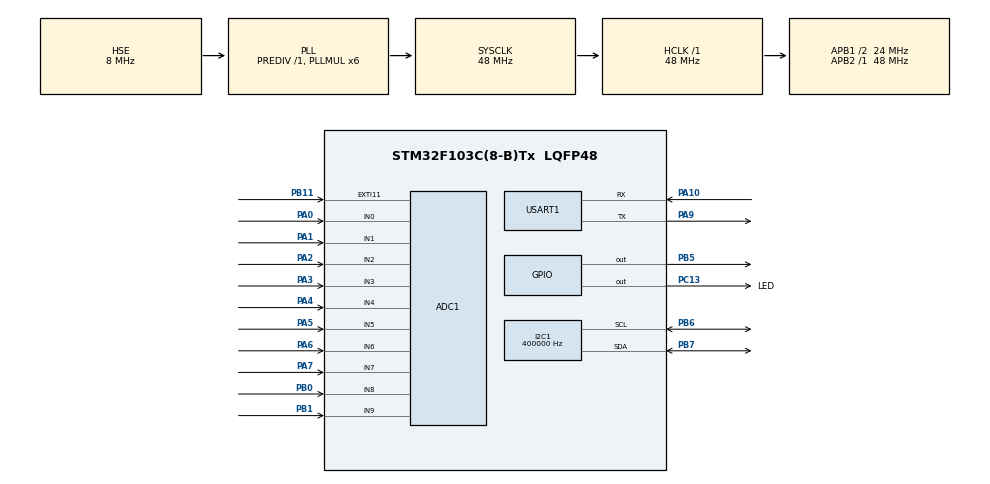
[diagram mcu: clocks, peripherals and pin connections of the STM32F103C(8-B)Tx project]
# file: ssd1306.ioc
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ADC1.Channel-0\#ChannelRegularConversion=ADC_CHANNEL_0
ADC1.Channel-10\#ChannelRegularConversion=ADC_CHANNEL_8
ADC1.Channel-11\#ChannelRegularConversion=ADC_CHANNEL_9
ADC1.Channel-12\#ChannelRegularConversion=ADC_CHANNEL_TEMPSENSOR
ADC1.Channel-13\#ChannelRegularConversion=ADC_CHANNEL_VREFINT
ADC1.Channel-3\#ChannelRegularConversion=ADC_CHANNEL_1
ADC1.Channel-4\#ChannelRegularConversion=ADC_CHANNEL_2
ADC1.Channel-5\#ChannelRegularConversion=ADC_CHANNEL_3
ADC1.Channel-6\#ChannelRegularConversion=ADC_CHANNEL_4
ADC1.Channel-7\#ChannelRegularConversion=ADC_CHANNEL_5
ADC1.Channel-8\#ChannelRegularConversion=ADC_CHANNEL_6
ADC1.Channel-9\#ChannelRegularConversion=ADC_CHANNEL_7
ADC1.ContinuousConvMode=ENABLE
ADC1.DataAlign=ADC_DATAALIGN_RIGHT
ADC1.DiscontinuousConvMode=DISABLE
ADC1.EnableAnalogWatchDog=false
ADC1.EnableRegularConversion=ENABLE
ADC1.ExternalTrigConv=ADC_EXTERNALTRIGCONV_EXT_IT11
ADC1.InjNumberOfConversion=0
ADC1.NbrOfConversion=12
ADC1.NbrOfConversionFlag=1
ADC1.Rank-0\#ChannelRegularConversion=1
ADC1.Rank-10\#ChannelRegularConversion=9
ADC1.Rank-11\#ChannelRegularConversion=10
ADC1.Rank-12\#ChannelRegularConversion=11
ADC1.Rank-13\#ChannelRegularConversion=12
ADC1.Rank-3\#ChannelRegularConversion=2
ADC1.Rank-4\#ChannelRegularConversion=3
ADC1.Rank-5\#ChannelRegularConversion=4
ADC1.Rank-6\#ChannelRegularConversion=5
ADC1.Rank-7\#ChannelRegularConversion=6
ADC1.Rank-8\#ChannelRegularConversion=7
ADC1.Rank-9\#ChannelRegularConversion=8
ADC1.SamplingTime-0\#ChannelRegularConversion=ADC_SAMPLETIME_1CYCLE_5
ADC1.SamplingTime-10\#ChannelRegularConversion=ADC_SAMPLETIME_1CYCLE_5
ADC1.SamplingTime-11\#ChannelRegularConversion=ADC_SAMPLETIME_1CYCLE_5
ADC1.SamplingTime-12\#ChannelRegularConversion=ADC_SAMPLETIME_1CYCLE_5
ADC1.SamplingTime-13\#ChannelRegularConversion=ADC_SAMPLETIME_1CYCLE_5
ADC1.SamplingTime-3\#ChannelRegularConversion=ADC_SAMPLETIME_1CYCLE_5
ADC1.SamplingTime-4\#ChannelRegularConversion=ADC_SAMPLETIME_1CYCLE_5
ADC1.SamplingTime-5\#ChannelRegularConversion=ADC_SAMPLETIME_1CYCLE_5
ADC1.SamplingTime-6\#ChannelRegularConversion=ADC_SAMPLETIME_1CYCLE_5
ADC1.SamplingTime-7\#ChannelRegularConversion=ADC_SAMPLETIME_1CYCLE_5
ADC1.SamplingTime-8\#ChannelRegularConversion=ADC_SAMPLETIME_1CYCLE_5
ADC1.SamplingTime-9\#ChannelRegularConversion=ADC_SAMPLETIME_1CYCLE_5
ADC1.ScanConvMode=ADC_SCAN_ENABLE
ADC1.master=1
Dma.ADC1.0.Direction=DMA_PERIPH_TO_MEMORY
Dma.ADC1.0.Instance=DMA1_Channel1
Dma.ADC1.0.MemDataAlignment=DMA_MDATAALIGN_HALFWORD
Dma.ADC1.0.MemInc=DMA_MINC_ENABLE
Dma.ADC1.0.Mode=DMA_CIRCULAR
Dma.ADC1.0.PeriphDataAlignment=DMA_PDATAALIGN_HALFWORD
Dma.ADC1.0.PeriphInc=DMA_PINC_DISABLE
Dma.ADC1.0.Priority=DMA_PRIORITY_MEDIUM
Dma.Request0=ADC1
I2C1.ClockSpeed=400000
I2C1.I2C_Mode=I2C_Fast
Mcu.Family=STM32F1
Mcu.Name=STM32F103C(8-B)Tx
Mcu.Package=LQFP48
NVIC.ADC1_2_IRQn=true\:0\:0\:false\:false\:true\:true
NVIC.DMA1_Channel1_IRQn=true\:0\:0\:false\:false\:true\:true
NVIC.PriorityGroup=NVIC_PRIORITYGROUP_4
PA0-WKUP.Signal=ADCx_IN0
PA1.Signal=ADCx_IN1
PA10.Mode=Asynchronous
PA10.Signal=USART1_RX
PA13.Mode=Serial_Wire
PA13.Signal=SYS_JTMS-SWDIO
PA14.Mode=Serial_Wire
PA14.Signal=SYS_JTCK-SWCLK
PA2.Signal=ADCx_IN2
PA3.Signal=ADCx_IN3
PA4.Signal=ADCx_IN4
PA5.Signal=ADCx_IN5
PA6.Signal=ADCx_IN6
PA7.Signal=ADCx_IN7
PA9.Mode=Asynchronous
PA9.Signal=USART1_TX
PB0.Signal=ADCx_IN8
PB1.Signal=ADCx_IN9
PB11.Signal=GPXTI11
PB5.GPIO_Speed=GPIO_SPEED_FREQ_MEDIUM
PB5.Signal=GPIO_Output
PB6.Mode=I2C
PB6.Signal=I2C1_SCL
PB7.Mode=I2C
PB7.Signal=I2C1_SDA
PC13-TAMPER-RTC.GPIO_Label=LED
PC13-TAMPER-RTC.GPIO_Speed=GPIO_SPEED_FREQ_MEDIUM
PC13-TAMPER-RTC.PinState=GPIO_PIN_SET
PC13-TAMPER-RTC.Signal=GPIO_Output
PD0-OSC_IN.Mode=HSE-External-Oscillator
PD0-OSC_IN.Signal=RCC_OSC_IN
PD1-OSC_OUT.Mode=HSE-External-Oscillator
PD1-OSC_OUT.Signal=RCC_OSC_OUT
ProjectManager.HeapSize=0x400
ProjectManager.StackSize=0x200
ProjectManager.TargetToolchain=MDK-ARM V5
RCC.ADCPresc=RCC_ADCPCLK2_DIV6
RCC.AHBFreq_Value=48000000
RCC.APB1CLKDivider=RCC_HCLK_DIV2
RCC.APB1Freq_Value=24000000
RCC.APB1TimFreq_Value=48000000
RCC.APB2Freq_Value=48000000
RCC.APB2TimFreq_Value=48000000
RCC.HCLKFreq_Value=48000000
RCC.PLLMUL=RCC_PLL_MUL6
RCC.PLLSourceVirtual=RCC_PLLSOURCE_HSE
RCC.SYSCLKFreq_VALUE=48000000
RCC.SYSCLKSource=RCC_SYSCLKSOURCE_PLLCLK
RCC.USBFreq_Value=48000000
SH.ADCx_IN0.0=ADC1_IN0,IN0
SH.ADCx_IN1.0=ADC1_IN1,IN1
SH.ADCx_IN2.0=ADC1_IN2,IN2
SH.ADCx_IN3.0=ADC1_IN3,IN3
SH.ADCx_IN4.0=ADC1_IN4,IN4
SH.ADCx_IN5.0=ADC1_IN5,IN5
SH.ADCx_IN6.0=ADC1_IN6,IN6
SH.ADCx_IN7.0=ADC1_IN7,IN7
SH.ADCx_IN8.0=ADC1_IN8,IN8
SH.ADCx_IN9.0=ADC1_IN9,IN9
USART1.VirtualMode=VM_ASYNC
VP_ADC1_TempSens_Input.Mode=IN-TempSens
VP_ADC1_Vref_Input.Mode=IN-Vrefint
board=ssd1306

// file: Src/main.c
/**
  ******************************************************************************
  * File Name          : main.c
  * Description        : Main program body
  ******************************************************************************
  ** This notice applies to any and all portions of this file
  * that are not between comment pairs USER CODE BEGIN and
  * USER CODE END. Other portions of this file, whether
  * inserted by the user or by software development tools
  * are owned by their respective copyright owners.
  *
  * COPYRIGHT(c) 2018 STMicroelectronics
  *
  * Redistribution and use in source and binary forms, with or without modification,
  * are permitted provided that the following conditions are met:
  *   1. Redistributions of source code must retain the above copyright notice,
  *      this list of conditions and the following disclaimer.
  *   2. Redistributions in binary form must reproduce the above copyright notice,
  *      this list of conditions and the following disclaimer in the documentation
  *      and/or other materials provided with the distribution.
  *   3. Neither the name of STMicroelectronics nor the names of its contributors
  *      may be used to endorse or promote products derived from this software
  *      without specific prior written permission.
  *
  * THIS SOFTWARE IS PROVIDED BY THE COPYRIGHT HOLDERS AND CONTRIBUTORS "AS IS"
  * AND ANY EXPRESS OR IMPLIED WARRANTIES, INCLUDING, BUT NOT LIMITED TO, THE
  * IMPLIED WARRANTIES OF MERCHANTABILITY AND FITNESS FOR A PARTICULAR PURPOSE ARE
  * DISCLAIMED. IN NO EVENT SHALL THE COPYRIGHT HOLDER OR CONTRIBUTORS BE LIABLE
  * FOR ANY DIRECT, INDIRECT, INCIDENTAL, SPECIAL, EXEMPLARY, OR CONSEQUENTIAL
  * DAMAGES (INCLUDING, BUT NOT LIMITED TO, PROCUREMENT OF SUBSTITUTE GOODS OR
  * SERVICES; LOSS OF USE, DATA, OR PROFITS; OR BUSINESS INTERRUPTION) HOWEVER
  * CAUSED AND ON ANY THEORY OF LIABILITY, WHETHER IN CONTRACT, STRICT LIABILITY,
  * OR TORT (INCLUDING NEGLIGENCE OR OTHERWISE) ARISING IN ANY WAY OUT OF THE USE
  * OF THIS SOFTWARE, EVEN IF ADVISED OF THE POSSIBILITY OF SUCH DAMAGE.
  *
  ******************************************************************************
  */

#include "main.h"
#include "stm32f1xx_hal.h"
#include "adc.h"
#include "dma.h"
#include "i2c.h"
#include "usart.h"
#include "gpio.h"

/* USER CODE BEGIN Includes */
#include "fonts.h"
#include "ssd1306.h"

#include "variable.h"
#include "acs.c"
/* USER CODE END Includes */

/* USER CODE BEGIN PV */
/* Private variables ---------------------------------------------------------*/

/* USER CODE END PV */

void SystemClock_Config(void);

/* USER CODE BEGIN PFP */
/* Private function prototypes -----------------------------------------------*/

/* USER CODE END PFP */

int main(void)
{

  /* MCU Configuration----------------------------------------------------------*/

  /* Reset of all peripherals, Initializes the Flash interface and the Systick. */
  HAL_Init();

  /* Configure the system clock */
  SystemClock_Config();

  /* Initialize all configured peripherals */
  MX_GPIO_Init();
  MX_DMA_Init();
  MX_I2C1_Init();
  MX_ADC1_Init();
  MX_USART1_UART_Init();

  /* USER CODE BEGIN 2 */
	/****************
	uint8_t res = SSD1306_Init();
	printf("OLED init: %d\n", res);
	***********************/

	while(back_timer != 0)
	{
	uint8_t res = SSD1306_Init();
	printf("OLED init: %d\n", res);
	SSD1306_GotoXY(10,1);
	SSD1306_Puts("slavka", &Font_16x26, 1);
	SSD1306_GotoXY(40,25);
	SSD1306_Puts("414", &Font_16x26, 1);
	////// back_timer on oled   ////////
		sprintf(buf, "%d", back_timer);
		if (back_timer < 10) {
			SSD1306_GotoXY(55,50);
			SSD1306_Puts(buf, &Font_7x10, 1);
		}
		else {
			SSD1306_GotoXY(50,50);
			SSD1306_Puts(buf, &Font_7x10, 1);
		}
		SSD1306_UpdateScreen();
		SSD1306_Fill(0); //clear oled
		back_timer--;
		HAL_Delay(1000);
	}
	SSD1306_Fill(0);

	SSD1306_UpdateScreen();

  /* USER CODE END 2 */

  /* Infinite loop */
  while (1)
  {

  /* USER CODE BEGIN 3 */
		acs_in_result();
		acs_output_result();
		SSD1306_UpdateScreen();
		HAL_Delay(1000);
		SSD1306_Fill(0);
  }
  /* USER CODE END 3 */

}

/** System Clock Configuration
*/
void SystemClock_Config(void)
{

  RCC_OscInitTypeDef RCC_OscInitStruct;
  RCC_ClkInitTypeDef RCC_ClkInitStruct;
  RCC_PeriphCLKInitTypeDef PeriphClkInit;

    /**Initializes the CPU, AHB and APB busses clocks
    */
  RCC_OscInitStruct.OscillatorType = RCC_OSCILLATORTYPE_HSE;
  RCC_OscInitStruct.HSEState = RCC_HSE_ON;
  RCC_OscInitStruct.HSEPredivValue = RCC_HSE_PREDIV_DIV1;
  RCC_OscInitStruct.HSIState = RCC_HSI_ON;
  RCC_OscInitStruct.PLL.PLLState = RCC_PLL_ON;
  RCC_OscInitStruct.PLL.PLLSource = RCC_PLLSOURCE_HSE;
  RCC_OscInitStruct.PLL.PLLMUL = RCC_PLL_MUL6;
  if (HAL_RCC_OscConfig(&RCC_OscInitStruct) != HAL_OK)
  {
    _Error_Handler(__FILE__, __LINE__);
  }

    /**Initializes the CPU, AHB and APB busses clocks
    */
  RCC_ClkInitStruct.ClockType = RCC_CLOCKTYPE_HCLK|RCC_CLOCKTYPE_SYSCLK
                              |RCC_CLOCKTYPE_PCLK1|RCC_CLOCKTYPE_PCLK2;
  RCC_ClkInitStruct.SYSCLKSource = RCC_SYSCLKSOURCE_PLLCLK;
  RCC_ClkInitStruct.AHBCLKDivider = RCC_SYSCLK_DIV1;
  RCC_ClkInitStruct.APB1CLKDivider = RCC_HCLK_DIV2;
  RCC_ClkInitStruct.APB2CLKDivider = RCC_HCLK_DIV1;

  if (HAL_RCC_ClockConfig(&RCC_ClkInitStruct, FLASH_LATENCY_1) != HAL_OK)
  {
    _Error_Handler(__FILE__, __LINE__);
  }

  PeriphClkInit.PeriphClockSelection = RCC_PERIPHCLK_ADC;
  PeriphClkInit.AdcClockSelection = RCC_ADCPCLK2_DIV6;
  if (HAL_RCCEx_PeriphCLKConfig(&PeriphClkInit) != HAL_OK)
  {
    _Error_Handler(__FILE__, __LINE__);
  }

    /**Configure the Systick interrupt time
    */
  HAL_SYSTICK_Config(HAL_RCC_GetHCLKFreq()/1000);

    /**Configure the Systick
    */
  HAL_SYSTICK_CLKSourceConfig(SYSTICK_CLKSOURCE_HCLK);

  /* SysTick_IRQn interrupt configuration */
  HAL_NVIC_SetPriority(SysTick_IRQn, 0, 0);
}

void _Error_Handler(char * file, int line)
{
  while(1)
  {
  }
}

/************************ (C) COPYRIGHT STMicroelectronics *****END OF FILE****/
